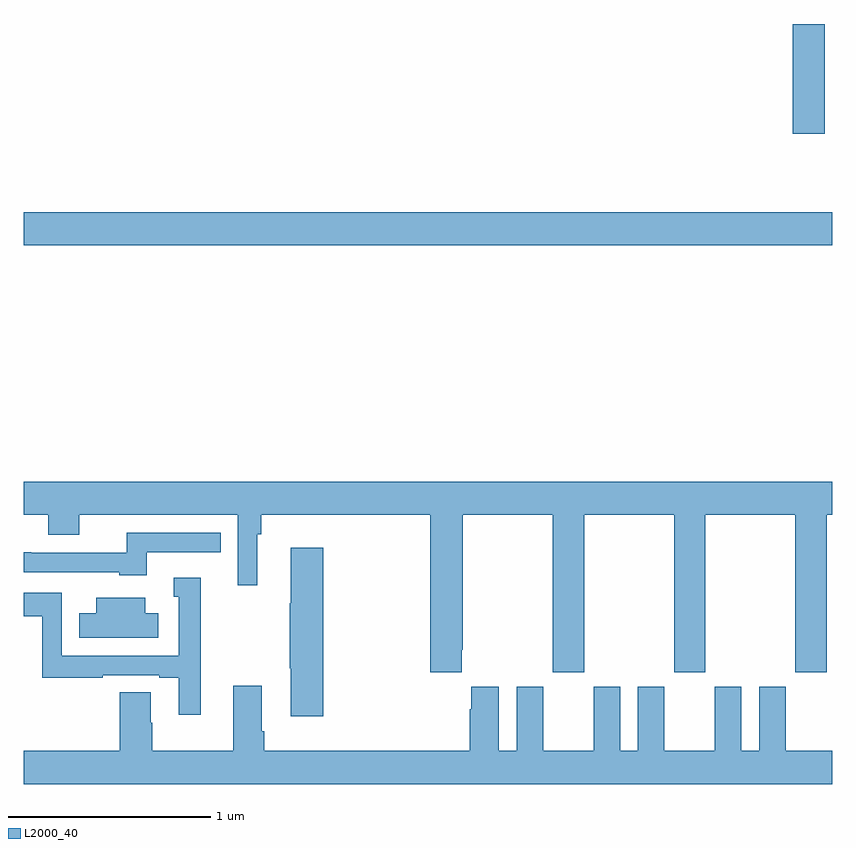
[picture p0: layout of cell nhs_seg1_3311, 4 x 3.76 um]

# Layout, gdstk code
import gdstk
lib = gdstk.Library(unit=1e-6, precision=1e-09)
def R(c, l, rs):  # rectangles x0, y0, x1, y1
    for r in rs: c.add(gdstk.rectangle(r[:2], r[2:], *l))
def P(c, l, *ps):  # polygons
    for p in ps: c.add(gdstk.Polygon(p, *l))
L2000_40 = (2000, 40)

nhs_seg1_3311 = lib.new_cell('nhs_seg1_3311')
R(nhs_seg1_3311, L2000_40, [(291,513.104,295,513.268), (294.803,513.657,294.963,514.199)])
P(nhs_seg1_3311, L2000_40, [(291,511.772),(291.122,511.772),(291.122,511.673),(291.274,511.673),(291.274,511.772),(292.059,511.772),(292.059,511.422),(292.156,511.422),(292.156,511.676),(292.175,511.676),(292.175,511.772),(293.012,511.772),(293.012,510.993),(293.167,510.993),(293.167,511.105),(293.172,511.105),(293.172,511.772),(293.617,511.772),(293.617,510.993),(293.772,510.993),(293.772,511.772),(294.217,511.772),(294.217,510.993),(294.372,510.993),(294.372,511.772),(294.817,511.772),(294.817,510.993),(294.972,510.993),(294.972,511.772),(295,511.772),(295,511.936),(291,511.936)],
  [(291.61,511.587),(291.974,511.587),(291.974,511.683),(291.511,511.683),(291.511,511.584),(291.038,511.584),(291.038,511.586),(291,511.586),(291,511.488),(291.474,511.488),(291.474,511.472),(291.61,511.472)],
  [(292.481,511.609),(292.322,511.609),(292.322,511.334),(292.315,511.334),(292.315,511.012),(292.322,511.012),(292.322,510.774),(292.481,510.774)],
  [(291.877,511.459),(291.743,511.459),(291.743,511.365),(291.768,511.365),(291.768,511.074),(291.189,511.074),(291.189,511.386),(291,511.386),(291,511.27),(291.091,511.27),(291.091,510.966),(291.392,510.966),(291.392,510.978),(291.671,510.978),(291.671,510.966),(291.767,510.966),(291.767,510.783),(291.877,510.783)],
  [(291.667,511.285),(291.601,511.285),(291.601,511.36),(291.359,511.36),(291.359,511.285),(291.274,511.285),(291.274,511.163),(291.667,511.163)],
  [(295,510.604),(294.769,510.604),(294.769,510.922),(294.638,510.922),(294.638,510.604),(294.55,510.604),(294.55,510.922),(294.419,510.922),(294.419,510.604),(294.169,510.604),(294.169,510.922),(294.038,510.922),(294.038,510.604),(293.95,510.604),(293.95,510.922),(293.819,510.922),(293.819,510.604),(293.569,510.604),(293.569,510.922),(293.438,510.922),(293.438,510.604),(293.35,510.604),(293.35,510.922),(293.213,510.922),(293.213,510.809),(293.207,510.809),(293.207,510.604),(292.19,510.604),(292.19,510.7),(292.177,510.7),(292.177,510.925),(292.037,510.925),(292.037,510.604),(291.636,510.604),(291.636,510.743),(291.628,510.743),(291.628,510.893),(291.476,510.893),(291.476,510.604),(291,510.604),(291,510.44),(295,510.44)])

lib.write_gds('nhs_seg1_3311.gds')
